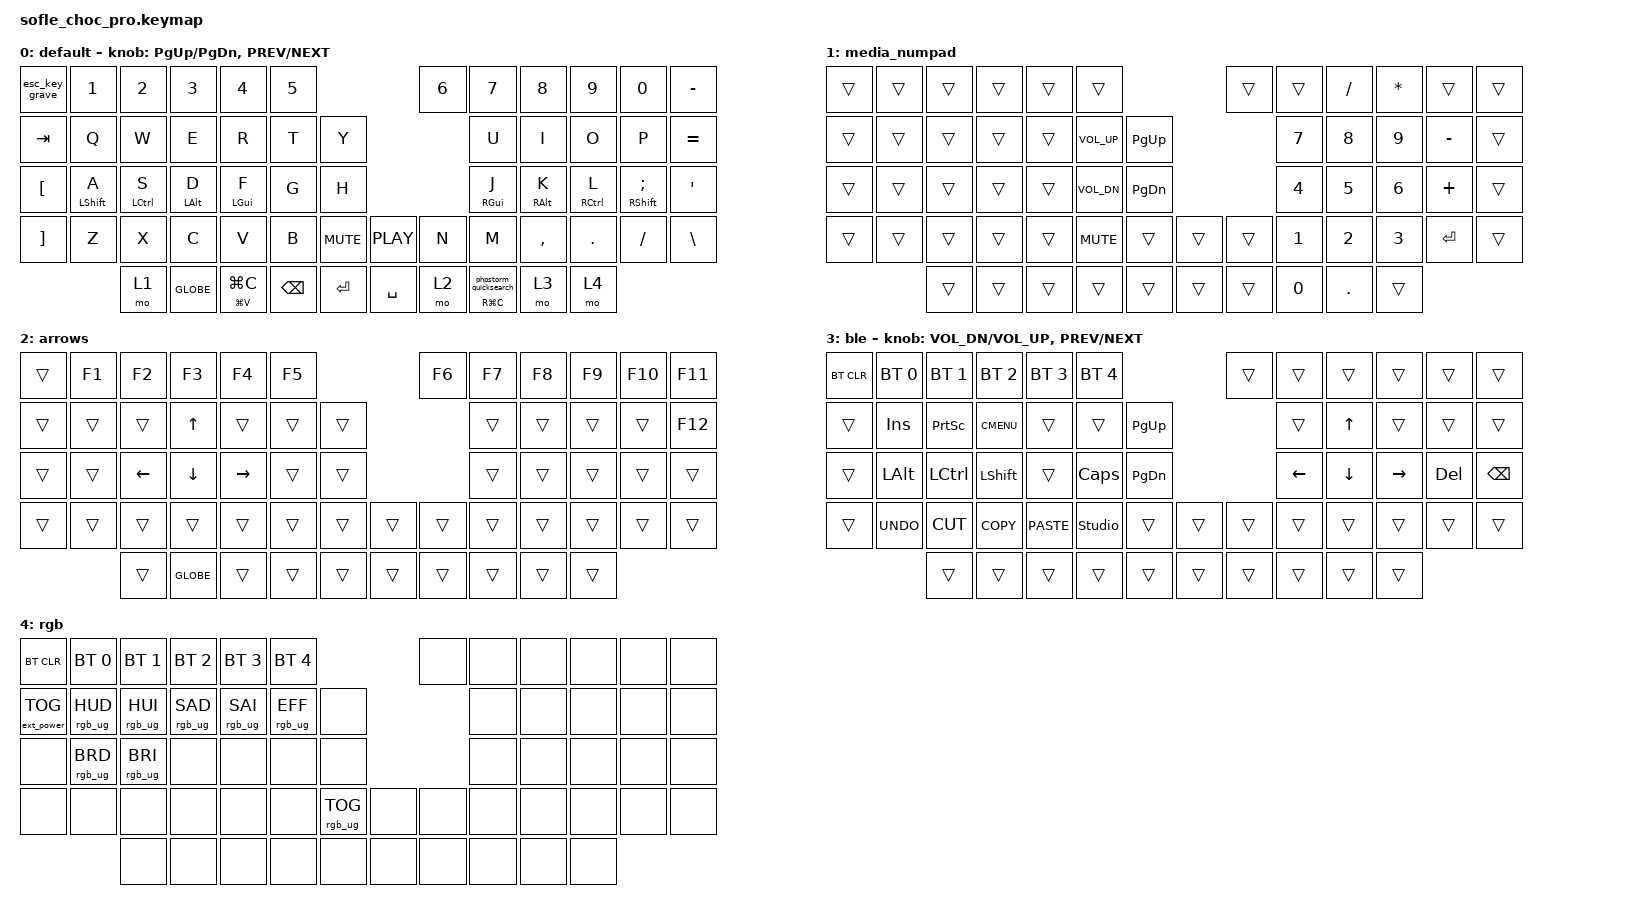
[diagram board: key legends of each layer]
/*
* Copyright (c) 2020 The ZMK Contributors
*
* SPDX-License-Identifier: MIT
*/

#include <behaviors.dtsi>
#include <dt-bindings/zmk/bt.h>
#include <dt-bindings/zmk/ext_power.h>
#include <dt-bindings/zmk/keys.h>
#include <dt-bindings/zmk/rgb.h>

#define BASE 0
#define LOWER 1
#define RAISE 2
#define ADJUST 3

// Key positions for positional hold-tap, from the matrix transform in
// boards/arm/sofle_choc_pro/sofle_choc_pro-layouts.dtsi.

#define KEYS_L  0  1  2  3  4  5 12 13 14 15 16 17 24 25 26 27 28 29 36 37 38 39 40 41 42
#define KEYS_R  6  7  8  9 10 11 18 19 20 21 22 23 30 31 32 33 34 35 43 44 45 46 47 48 49
#define THUMBS 50 51 52 53 54 55 56 57 58 59

/ {
    // Home row mods, one behavior per hand. `&mt` defaults to flavor "hold-preferred", which
    // commits to the modifier as soon as any other key is pressed, so rolling
    // A -> M types "M" instead of "am". "tap-preferred" holds only once
    // tapping-term-ms elapses, so fast rolls always produce letters. Each
    // hand gates its hold on the OPPOSITE hand, so same-hand rolls stay taps.

    macros {
        // Two discrete Shift taps: PhpStorm's Search Everywhere fires on
        // double-Shift, which the home-row Shift holds can't produce.

        phpstorm_quicksearch: phpstorm_quicksearch {
            compatible = "zmk,behavior-macro";
            label = "PHPSTORM_QUICKSEARCH";
            #binding-cells = <0>;
            tap-ms = <40>;
            wait-ms = <40>;
            bindings = <&kp LSHFT &kp LSHFT>;
        };
    };

    combos {
        compatible = "zmk,combos";

        // J+K chorded together = Esc, since the dedicated Esc is a
        // double-tap. require-prior-idle keeps fast j->k rolls as letters.

        combo_esc {
            timeout-ms = <40>;
            key-positions = <31 32>;
            require-prior-idle-ms = <150>;
            bindings = <&kp ESC>;
            layers = <0>;
        };
    };

    behaviors {
        hml: home_row_mod_left {
            compatible = "zmk,behavior-hold-tap";
            #binding-cells = <2>;
            flavor = "tap-preferred";
            tapping-term-ms = <200>;
            quick-tap-ms = <175>;
            require-prior-idle-ms = <150>;
            hold-trigger-key-positions = <KEYS_R THUMBS>;
            hold-trigger-on-release;
            bindings = <&kp>, <&kp>;
        };

        hmr: home_row_mod_right {
            compatible = "zmk,behavior-hold-tap";
            #binding-cells = <2>;
            flavor = "tap-preferred";
            tapping-term-ms = <200>;
            quick-tap-ms = <175>;
            require-prior-idle-ms = <150>;
            hold-trigger-key-positions = <KEYS_L THUMBS>;
            hold-trigger-on-release;
            bindings = <&kp>, <&kp>;
        };

        esc_key_grave: esc_key_grave {
            compatible = "zmk,behavior-tap-dance";
            label = "ESC_KEY_GRAVE";
            #binding-cells = <0>;
            bindings = <&kp GRAVE>, <&kp ESC>;
        };

        copy_paste: copy_paste {
            compatible = "zmk,behavior-hold-tap";
            label = "COPY_PASTE";
            bindings = <&kp>, <&kp>;

            #binding-cells = <2>;
            tapping-term-ms = <250>;
        };

        double_shift: double_shift {
            compatible = "zmk,behavior-hold-tap";
            label = "DOUBLE_SHIFT";
            bindings = <&kp>, <&phpstorm_quicksearch>;

            #binding-cells = <2>;
            tapping-term-ms = <250>;
        };
    };
};

/ {
    // Activate ADJUST layer by pressing raise and lower

    conditional_layers { compatible = "zmk,conditional-layers"; };

    keymap {
        compatible = "zmk,keymap";

        default_layer {
            display-name = "default";

            // ------------------------------------------------------------------------------------------------------------
            // |   `   |  1  |  2  |  3   |  4   |  5   |                   |  6   |  7    |  8    |  9   |   0   |   `   |
            // |  TAB  |  Q  |  W  |  E   |  R   |  T   |                   |  Y   |  U    |  I    |  O   |   P   |   =   |
            // |   [   |  A  |  S  |  D   |  F   |  G   |                   |  H   |  J    |  K    |  L   |   ;   |   '   |
            // |   ]   |  Z  |  X  |  C   |  V   |  B   |  MUTE  |  | PLAY  |  N   |  M    |  ,    |  .   |   /   |   \   |
            //               | GUI | ALT  | CTRL | LOWER|  ENTER |  | SPACE | RAISE| CTRL  | ALT   | GUI  |

            bindings = <
&esc_key_grave     &kp N1         &kp N2               &kp N3       &kp N4                   &kp N5                                 &kp N6  &kp N7                         &kp N8       &kp N9        &kp N0                 &kp MINUS
&kp TAB            &kp Q          &kp W                &kp E        &kp R                    &kp T          &kp Y                           &kp U                          &kp I        &kp O         &kp P                  &kp EQUAL
&kp LEFT_BRACKET   &hml LSHIFT A  &hml LEFT_CONTROL S  &hml LALT D  &hml LEFT_GUI F          &kp G          &kp H                           &hmr RGUI J                    &hmr RALT K  &hmr RCTRL L  &hmr RSHIFT SEMICOLON  &kp SQT
&kp RIGHT_BRACKET  &kp Z          &kp X                &kp C        &kp V                    &kp B          &kp C_MUTE  &kp C_PLAY  &kp N   &kp M                          &kp COMMA    &kp DOT       &kp FSLH               &kp BACKSLASH
                                  &mo 1                &kp GLOBE    &copy_paste LG(V) LG(C)  &kp BACKSPACE  &kp RET     &kp SPACE   &mo 2   &double_shift RG(C) 0          &mo 3        &mo 4
            >;

            sensor-bindings =
                <&inc_dec_kp PAGE_UP PAGE_DOWN>,
                <&inc_dec_kp C_PREV C_NEXT>;
        };

        media_numpad {
            bindings = <
&trans  &trans  &trans  &trans  &trans  &trans                                  &trans  &trans        &kp SLASH     &kp ASTERISK  &trans     &trans
&trans  &trans  &trans  &trans  &trans  &kp C_VOLUME_UP  &kp PAGE_UP                    &kp NUMBER_7  &kp NUMBER_8  &kp NUMBER_9  &kp MINUS  &trans
&trans  &trans  &trans  &trans  &trans  &kp C_VOL_DN     &kp PAGE_DOWN                  &kp NUMBER_4  &kp NUMBER_5  &kp NUMBER_6  &kp PLUS   &trans
&trans  &trans  &trans  &trans  &trans  &kp C_MUTE       &trans         &trans  &trans  &kp NUMBER_1  &kp NUMBER_2  &kp NUMBER_3  &kp ENTER  &trans
                &trans  &trans  &trans  &trans           &trans         &trans  &trans  &kp NUMBER_0  &kp PERIOD    &trans
            >;
        };

        arrows {
            bindings = <
&trans  &kp F1  &kp F2          &kp F3          &kp F4           &kp F5                  &kp F6  &kp F7  &kp F8  &kp F9  &kp F10  &kp F11
&trans  &trans  &trans          &kp UP_ARROW    &trans           &trans  &trans                  &trans  &trans  &trans  &trans   &kp F12
&trans  &trans  &kp LEFT_ARROW  &kp DOWN_ARROW  &kp RIGHT_ARROW  &trans  &trans                  &trans  &trans  &trans  &trans   &trans
&trans  &trans  &trans          &trans          &trans           &trans  &trans  &trans  &trans  &trans  &trans  &trans  &trans   &trans
                &trans          &kp GLOBE       &trans           &trans  &trans  &trans  &trans  &trans  &trans  &trans
            >;

            label = "arrows";
        };

        bluetooth_layer {
            display-name = "ble";

            // ------------------------------------------------------------------------------------------------------------
            // | BTCLR | BT1  | BT2  |  BT3  |  BT4  |  BT5 |                |      |      |       |      |       |       |
            // |       | INS  | PSCR | GUI   |       |      |                | PGUP |      |   ^   |      |       |       |
            // |       | ALT  | CTRL | SHIFT |       | CAPS |                | PGDN |   <- |   v   |  ->  |  DEL  | BKSPC |
            // |       | UNDO | CUT  | COPY  | PASTE | STUD |      |  |      |      |      |       |      |       |       |
            //                |      |       |       |      |      |  |      |      |      |       |      |

            bindings = <
&bt BT_CLR  &bt BT_SEL 0  &bt BT_SEL 1  &bt BT_SEL 2  &bt BT_SEL 3  &bt BT_SEL 4                       &trans  &trans    &trans    &trans     &trans   &trans
&trans      &kp INS       &kp PSCRN     &kp K_CMENU   &trans        &trans          &kp PG_UP                  &trans    &kp UP    &trans     &trans   &trans
&trans      &kp LALT      &kp LCTRL     &kp LSHFT     &trans        &kp CLCK        &kp PG_DN                  &kp LEFT  &kp DOWN  &kp RIGHT  &kp DEL  &kp BSPC
&trans      &kp K_UNDO    &kp K_CUT     &kp K_COPY    &kp K_PASTE   &studio_unlock  &trans     &trans  &trans  &trans    &trans    &trans     &trans   &trans
                          &trans        &trans        &trans        &trans          &trans     &trans  &trans  &trans    &trans    &trans
            >;

            sensor-bindings = <&inc_dec_kp C_VOL_DN C_VOL_UP &inc_dec_kp C_PREV C_NEXT>;
        };

        rgb_layer {
            // ----------------------------------------------------------------------------------------------------------------------------
            // | BTCLR  |  BT1    |  BT2    |   BT3   |   BT4   |   BT5   |                  |      |      |       |      |       |       |
            // | EXTPWR | RGB_HUD | RGB_HUI | RGB_SAD | RGB_SAI | RGB_EFF |                  |      |      |       |      |       |       |
            // |        | RGB_BRD | RGB_BRI |         |         |         |                  |      |      |       |      |       |       |
            // |        |         |         |         |         |         | RGB_TOG | |      |      |      |       |      |       |       |
            //                    |         |         |         |         |         | |      |      |      |       |      |

            display-name = "rgb";
            bindings = <
&bt BT_CLR         &bt BT_SEL 0     &bt BT_SEL 1     &bt BT_SEL 2     &bt BT_SEL 3     &bt BT_SEL 4                             &none  &none  &none  &none  &none  &none
&ext_power EP_TOG  &rgb_ug RGB_HUD  &rgb_ug RGB_HUI  &rgb_ug RGB_SAD  &rgb_ug RGB_SAI  &rgb_ug RGB_EFF  &none                          &none  &none  &none  &none  &none
&none              &rgb_ug RGB_BRD  &rgb_ug RGB_BRI  &none            &none            &none            &none                          &none  &none  &none  &none  &none
&none              &none            &none            &none            &none            &none            &rgb_ug RGB_TOG  &none  &none  &none  &none  &none  &none  &none
                                    &none            &none            &none            &none            &none            &none  &none  &none  &none  &none
            >;
        };
    };
};
